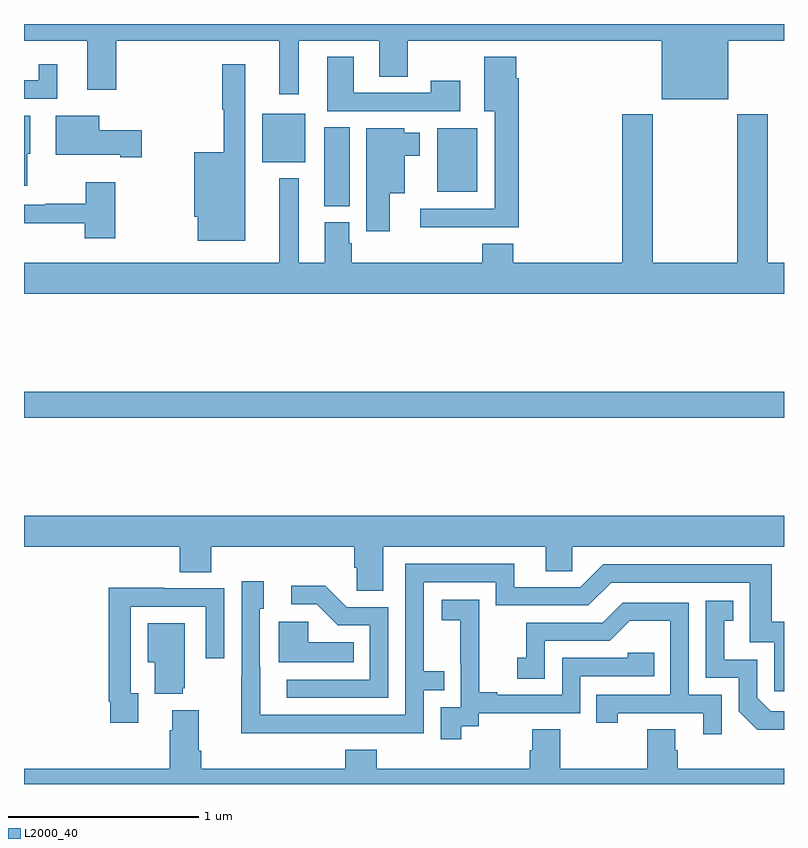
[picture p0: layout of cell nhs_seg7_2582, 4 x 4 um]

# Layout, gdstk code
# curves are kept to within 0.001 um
import gdstk
lib = gdstk.Library(unit=1e-6, precision=1e-09)
def R(c, l, rs):  # rectangles x0, y0, x1, y1
    for r in rs: c.add(gdstk.rectangle(r[:2], r[2:], *l))
def P(c, l, *ps):  # polygons
    for p in ps: c.add(gdstk.Polygon(p, *l))
L2000_40 = (2000, 40)

nhs_seg7_2582 = lib.new_cell('nhs_seg7_2582')
R(nhs_seg7_2582, L2000_40, [(279,1035.928,283,1036.064), (280.58,1037.041,280.714,1037.456), (281.174,1037.117,281.386,1037.452), (280.253,1037.273,280.48,1037.527)])
P(nhs_seg7_2582, L2000_40, [(282.706,1037.912),(283,1037.912),(283,1038),(279,1038),(279,1037.912),(279.332,1037.912),(279.332,1037.655),(279.485,1037.655),(279.485,1037.912),(280.343,1037.912),(280.343,1037.631),(280.447,1037.631),(280.447,1037.912),(280.871,1037.912),(280.871,1037.722),(281.019,1037.722),(281.019,1037.912),(282.356,1037.912),(282.356,1037.603),(282.706,1037.603)],
  [(281.296,1037.701),(281.14,1037.701),(281.14,1037.637),(280.735,1037.637),(280.735,1037.827),(280.595,1037.827),(280.595,1037.541),(281.296,1037.541)],
  [(281.603,1037.714),(281.59,1037.714),(281.59,1037.827),(281.423,1037.827),(281.423,1037.54),(281.477,1037.54),(281.477,1037.028),(281.085,1037.028),(281.085,1036.93),(281.603,1036.93)],
  [(279.175,1037.788),(279.077,1037.788),(279.077,1037.703),(279,1037.703),(279,1037.607),(279.175,1037.607)],
  [(280.165,1037.788),(280.044,1037.788),(280.044,1037.549),(280.051,1037.549),(280.051,1037.326),(279.896,1037.326),(279.896,1036.986),(279.914,1036.986),(279.914,1036.859),(280.165,1036.859)],
  [(280.711,1036.845),(280.711,1036.956),(280.583,1036.956),(280.583,1036.744),(280.447,1036.744),(280.447,1037.188),(280.343,1037.188),(280.343,1036.744),(279,1036.744),(279,1036.58),(283,1036.58),(283,1036.744),(282.914,1036.744),(282.914,1037.524),(282.754,1037.524),(282.754,1036.744),(282.309,1036.744),(282.309,1037.524),(282.149,1037.524),(282.149,1036.744),(281.576,1036.744),(281.576,1036.843),(281.411,1036.843),(281.411,1036.744),(280.724,1036.744),(280.724,1036.845)],
  [(279.619,1037.442),(279.397,1037.442),(279.397,1037.518),(279.167,1037.518),(279.167,1037.312),(279.506,1037.312),(279.506,1037.3),(279.619,1037.3)],
  [(279.016,1037.316),(279.034,1037.316),(279.034,1037.518),(279,1037.518),(279,1037.148),(279.016,1037.148)],
  [(280.924,1037.108),(281.005,1037.108),(281.005,1037.306),(281.083,1037.306),(281.083,1037.428),(281.001,1037.428),(281.001,1037.452),(280.802,1037.452),(280.802,1036.908),(280.924,1036.908)],
  [(279.48,1037.167),(279.325,1037.167),(279.325,1037.054),(279.112,1037.054),(279.112,1037.049),(279,1037.049),(279,1036.952),(279.32,1036.952),(279.32,1036.872),(279.48,1036.872)],
  [(280.891,1035.248),(281.747,1035.248),(281.747,1035.121),(281.886,1035.121),(281.886,1035.248),(283,1035.248),(283,1035.412),(279,1035.412),(279,1035.248),(279.821,1035.248),(279.821,1035.115),(279.986,1035.115),(279.986,1035.248),(280.739,1035.248),(280.739,1035.139),(280.752,1035.139),(280.752,1035.016),(280.891,1035.016)],
  [(280.607,1034.268),(281.103,1034.268),(281.103,1034.493),(281.213,1034.493),(281.213,1034.594),(281.103,1034.594),(281.103,1035.063),(281.484,1035.063),(281.484,1034.94),(281.97,1034.94),(282.09,1035.06),(282.819,1035.06),(282.819,1034.745),(282.948,1034.745),(282.948,1034.487),(283,1034.487),(283,1034.853),(282.935,1034.853),(282.935,1035.156),(282.048,1035.156),(281.928,1035.036),(281.581,1035.036),(281.581,1035.159),(281.007,1035.159),(281.007,1034.364),(280.243,1034.364),(280.242,1034.922),(280.261,1034.922),(280.261,1035.067),(280.146,1035.067),(280.146,1034.573),(280.144,1034.573),(280.144,1034.267)],
  [(280.917,1034.931),(280.698,1034.931),(280.585,1035.044),(280.407,1035.044),(280.407,1034.946),(280.541,1034.946),(280.652,1034.835),(280.821,1034.835),(280.821,1034.55),(280.383,1034.55),(280.383,1034.454),(280.917,1034.454)],
  [(279.601,1034.478),(279.561,1034.478),(279.561,1034.934),(279.957,1034.934),(279.957,1034.661),(280.053,1034.661),(280.053,1035.03),(279.737,1035.03),(279.737,1035.032),(279.445,1035.032),(279.445,1034.434),(279.453,1034.434),(279.453,1034.322),(279.601,1034.322)],
  [(281.302,1034.305),(281.394,1034.305),(281.394,1034.373),(281.928,1034.373),(281.928,1034.568),(282.317,1034.568),(282.317,1034.691),(282.177,1034.691),(282.177,1034.664),(281.832,1034.664),(281.832,1034.469),(281.491,1034.469),(281.491,1034.482),(281.396,1034.482),(281.396,1034.765),(281.397,1034.765),(281.397,1034.971),(281.199,1034.971),(281.199,1034.861),(281.297,1034.861),(281.297,1034.632),(281.298,1034.632),(281.298,1034.403),(281.193,1034.403),(281.193,1034.235),(281.302,1034.235)],
  [(283,1034.382),(282.93,1034.382),(282.858,1034.454),(282.858,1034.655),(282.685,1034.655),(282.685,1034.859),(282.734,1034.859),(282.734,1034.965),(282.588,1034.965),(282.588,1034.559),(282.762,1034.559),(282.762,1034.382),(282.86,1034.285),(283,1034.285)],
  [(282.672,1034.469),(282.498,1034.469),(282.498,1034.955),(282.152,1034.955),(282.047,1034.85),(281.644,1034.85),(281.644,1034.665),(281.595,1034.665),(281.595,1034.555),(281.742,1034.555),(281.742,1034.754),(282.084,1034.754),(282.188,1034.858),(282.402,1034.858),(282.402,1034.469),(282.013,1034.469),(282.013,1034.322),(282.124,1034.322),(282.124,1034.373),(282.575,1034.373),(282.575,1034.262),(282.672,1034.262)],
  [(280.736,1034.746),(280.497,1034.746),(280.497,1034.854),(280.34,1034.854),(280.34,1034.642),(280.736,1034.642)],
  [(279.836,1034.505),(279.847,1034.505),(279.847,1034.845),(279.65,1034.845),(279.65,1034.642),(279.689,1034.642),(279.689,1034.474),(279.836,1034.474)],
  [(283,1034.08),(282.44,1034.08),(282.44,1034.178),(282.427,1034.178),(282.427,1034.288),(282.28,1034.288),(282.28,1034.08),(281.823,1034.08),(281.823,1034.288),(281.675,1034.288),(281.675,1034.178),(281.663,1034.178),(281.663,1034.08),(280.856,1034.08),(280.856,1034.179),(280.691,1034.179),(280.691,1034.08),(279.932,1034.08),(279.932,1034.176),(279.919,1034.176),(279.919,1034.389),(279.779,1034.389),(279.779,1034.282),(279.767,1034.282),(279.767,1034.08),(279,1034.08),(279,1034),(283,1034)])

lib.write_gds('nhs_seg7_2582.gds')
